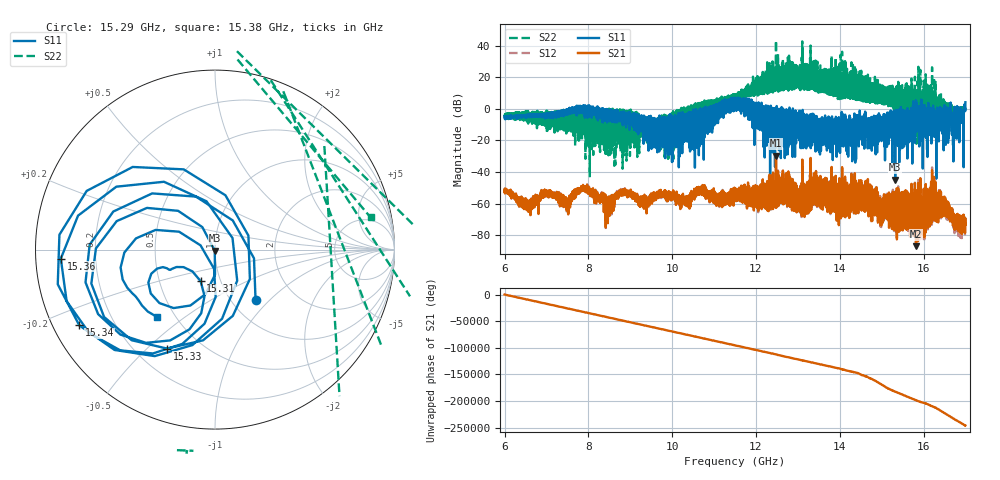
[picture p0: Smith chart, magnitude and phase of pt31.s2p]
#  HZ  S  RI  R  50.00
! Rohde & Schwarz Vector Network Analyzer
! Rohde-Schwarz,ZNA67-2Port,1332450062101215,3.01
! Created: UTC 10/15/2026, 3:39:36 PM
! freq[Hz]  re:S11  im:S11  re:S21  im:S21  re:S12  im:S12  re:S22  im:S22
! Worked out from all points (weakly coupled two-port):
!   11001 points, 6 GHz to 17 GHz, reference 50 ohm
!   highest |S21| = -29.53 dB at 12.48 GHz (marker M1); lowest = -86.8 dB at 15.82 GHz (marker M2)
!   lowest |S11| = -44.8 dB at 15.32 GHz (marker M3), VSWR 1.01, Z = 49.9 - j0.555 ohm
!   |S11| at or under -10 dB: 13.48026 GHz to 13.49684 GHz (16.58 MHz wide, 0.123 % of centre); 13.59809 GHz to 13.6261 GHz (28.02 MHz wide, 0.206 % of centre); 14.15692 GHz to 14.17436 GHz (17.44 MHz wide, 0.123 % of centre) (the widest 3 of 503)
!   |S22| runs from -42.6 to 43.2 dB; largest |S21 - S12| = 0.0033
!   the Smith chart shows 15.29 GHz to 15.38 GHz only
!   S11 on the Smith chart (normalised r, x): 15.29 GHz: 1.28, -0.83; 15.31 GHz: 0.80, -0.29; 15.33 GHz: 0.33, -0.58; 15.34 GHz: 0.08, -0.26; 15.36 GHz: 0.08, -0.03; 15.38 GHz: 0.40, -0.40
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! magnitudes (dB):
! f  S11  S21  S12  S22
! 6 GHz  -4.9  -52.2  -52.1  -4.0
! 6.566 GHz  -3.8  -63.2  -63.3  -4.4
! 6.985 GHz  -4.6  -52.8  -52.7  -5.2
! 7.486 GHz  -3.6  -64.4  -64.8  -10.5
! 7.834 GHz  -0.3  -50.6  -50.6  -8.9
! 8.469 GHz  -7.4  -61.7  -61.5  -3.8
! 8.819 GHz  -9.4  -51.0  -50.8  -8.2
! 9.667 GHz  -12.4  -54.1  -54.3  -11.9
! 11.5 GHz  6.8  -56.2  -56.3  7.0
! 12.48 GHz  -9.5  -29.5  -29.7  43.2
! 13.33 GHz  -8.5  -56.4  -56.3  15.2
! 15.17 GHz  -9.5  -65.0  -64.4  9.1
! 15.29 GHz  -8.8  -59.5  -58.6  7.2
! 15.31 GHz  -14.3  -67.5  -67.6  0.9
! 15.32 GHz  -44.8  -66.0  -65.8  2.1
! 15.33 GHz  -4.3  -66.3  -66.2  1.4
! 15.34 GHz  -1.3  -65.2  -65.9  2.3
! 15.36 GHz  -1.3  -65.8  -65.4  2.7
! 15.38 GHz  -6.1  -73.3  -74.7  -1.1
! 15.82 GHz  4.7  -86.8  -81.5  -13.6
! 16.42 GHz  -6.2  -64.7  -65.1  -1.7
! 17 GHz  4.2  -72.7  -73.0  0.1
